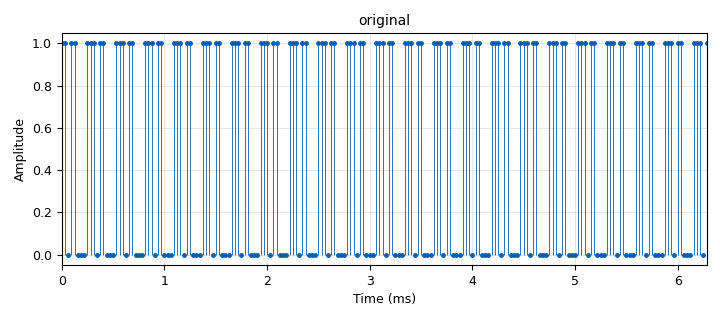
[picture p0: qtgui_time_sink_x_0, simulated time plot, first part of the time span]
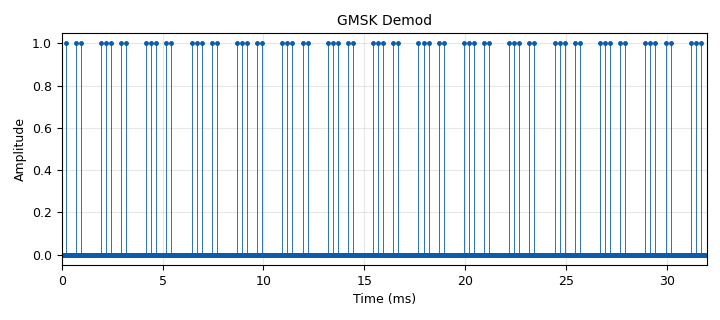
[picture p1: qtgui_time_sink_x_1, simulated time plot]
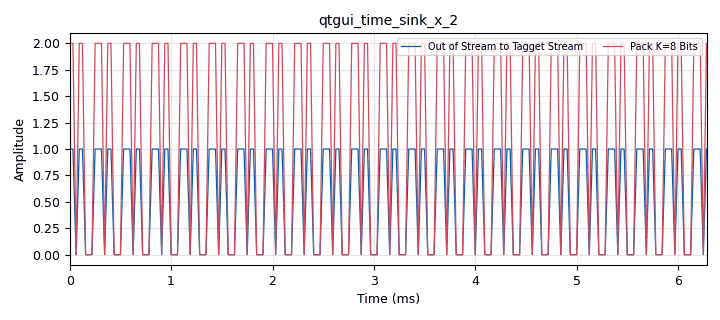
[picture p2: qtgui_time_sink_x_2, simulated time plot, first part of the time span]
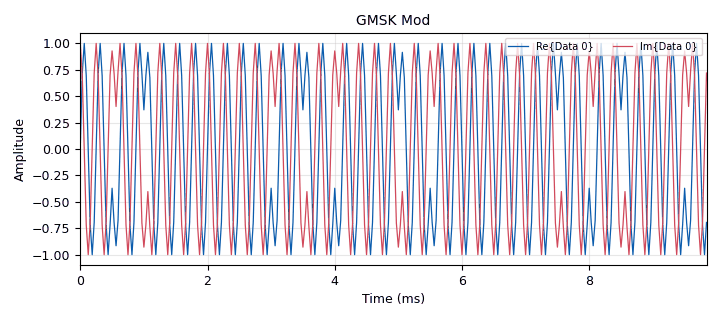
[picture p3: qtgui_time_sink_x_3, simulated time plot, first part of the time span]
<?xml version='1.0' encoding='utf-8'?>
<?grc format='1' created='3.7.13'?>
<flow_graph>
<block>
<key>options</key>
<param><key>id</key><value>top_block</value></param>
<param><key>generate_options</key><value>qt_gui</value></param>
<param><key>run_options</key><value>run</value></param>
<param><key>title</key><value>GMSK Mod Demod</value></param>
</block>
<block>
<key>variable</key>
<param><key>id</key><value>samp_rate</value></param>
<param><key>value</key><value>32000</value></param>
</block>
<block>
<key>blocks_pack_k_bits_bb</key>
<param><key>id</key><value>blocks_pack_k_bits_bb_0</value></param>
<param><key>k</key><value>8</value></param>
</block>
<block>
<key>blocks_stream_to_tagged_stream</key>
<param><key>id</key><value>blocks_stream_to_tagged_stream_0_0</value></param>
<param><key>len_tag_key</key><value>"packet_len"</value></param>
<param><key>packet_len</key><value>9</value></param>
<param><key>type</key><value>byte</value></param>
</block>
<block>
<key>blocks_throttle</key>
<param><key>id</key><value>blocks_throttle_0_0</value></param>
<param><key>samples_per_second</key><value>samp_rate</value></param>
<param><key>type</key><value>byte</value></param>
</block>
<block>
<key>blocks_uchar_to_float</key>
<param><key>id</key><value>blocks_uchar_to_float_0</value></param>
</block>
<block>
<key>blocks_uchar_to_float</key>
<param><key>id</key><value>blocks_uchar_to_float_0_1_1</value></param>
</block>
<block>
<key>blocks_uchar_to_float</key>
<param><key>id</key><value>blocks_uchar_to_float_0_1_1_0</value></param>
</block>
<block>
<key>blocks_uchar_to_float</key>
<param><key>id</key><value>blocks_uchar_to_float_0_1_1_0_1</value></param>
</block>
<block>
<key>blocks_vector_source_x</key>
<param><key>id</key><value>blocks_vector_source_x_0_0</value></param>
<param><key>type</key><value>byte</value></param>
<param><key>repeat</key><value>True</value></param>
<param><key>vector</key><value>(0, 0, 0, 1, 1, 1, 0, 1, 1)</value></param>
</block>
<block>
<key>blocks_vector_to_stream</key>
<param><key>id</key><value>blocks_vector_to_stream_0</value></param>
<param><key>type</key><value>byte</value></param>
<param><key>num_items</key><value>1</value></param>
</block>
<block>
<key>channels_channel_model</key>
<param><key>id</key><value>channels_channel_model_0</value></param>
<param><key>block_tags</key><value>True</value></param>
<param><key>epsilon</key><value>1.0</value></param>
<param><key>freq_offset</key><value>0.0</value></param>
<param><key>noise_voltage</key><value>0.1</value></param>
<param><key>seed</key><value>0</value></param>
<param><key>taps</key><value>1.0 + 1.0j</value></param>
</block>
<block>
<key>digital_gmsk_demod</key>
<param><key>id</key><value>digital_gmsk_demod_0</value></param>
<param><key>freq_error</key><value>0.0</value></param>
<param><key>gain_mu</key><value>0.175</value></param>
<param><key>mu</key><value>0.5</value></param>
<param><key>omega_relative_limit</key><value>0.005</value></param>
<param><key>samples_per_symbol</key><value>2</value></param>
</block>
<block>
<key>digital_gmsk_mod</key>
<param><key>id</key><value>digital_gmsk_mod_0</value></param>
<param><key>bt</key><value>0.35</value></param>
<param><key>samples_per_symbol</key><value>2</value></param>
<param><key>verbose</key><value>True</value></param>
</block>
<block>
<key>qtgui_time_sink_x</key>
<param><key>id</key><value>qtgui_time_sink_x_0</value></param>
<param><key>autoscale</key><value>True</value></param>
<param><key>ctrlpanel</key><value>True</value></param>
<param><key>color1</key><value>"blue"</value></param>
<param><key>label1</key><value></value></param>
<param><key>name</key><value>"original"</value></param>
<param><key>size</key><value>1024</value></param>
<param><key>srate</key><value>samp_rate</value></param>
<param><key>stemplot</key><value>True</value></param>
<param><key>type</key><value>float</value></param>
</block>
<block>
<key>qtgui_time_sink_x</key>
<param><key>id</key><value>qtgui_time_sink_x_1</value></param>
<param><key>autoscale</key><value>True</value></param>
<param><key>color1</key><value>"black"</value></param>
<param><key>label1</key><value></value></param>
<param><key>name</key><value>"GMSK Demod"</value></param>
<param><key>size</key><value>1024</value></param>
<param><key>srate</key><value>samp_rate</value></param>
<param><key>stemplot</key><value>True</value></param>
<param><key>type</key><value>float</value></param>
</block>
<block>
<key>qtgui_time_sink_x</key>
<param><key>id</key><value>qtgui_time_sink_x_2</value></param>
<param><key>autoscale</key><value>True</value></param>
<param><key>ctrlpanel</key><value>True</value></param>
<param><key>color1</key><value>"blue"</value></param>
<param><key>label1</key><value>Out of Stream to Tagget Stream</value></param>
<param><key>color2</key><value>"red"</value></param>
<param><key>label2</key><value>Pack K=8 Bits</value></param>
<param><key>nconnections</key><value>2</value></param>
<param><key>size</key><value>1024</value></param>
<param><key>srate</key><value>samp_rate</value></param>
<param><key>type</key><value>float</value></param>
</block>
<block>
<key>qtgui_time_sink_x</key>
<param><key>id</key><value>qtgui_time_sink_x_3</value></param>
<param><key>autoscale</key><value>True</value></param>
<param><key>ctrlpanel</key><value>True</value></param>
<param><key>color1</key><value>"blue"</value></param>
<param><key>label1</key><value></value></param>
<param><key>color2</key><value>"red"</value></param>
<param><key>label2</key><value></value></param>
<param><key>name</key><value>"GMSK Mod"</value></param>
<param><key>size</key><value>1024</value></param>
<param><key>srate</key><value>samp_rate</value></param>
<param><key>type</key><value>complex</value></param>
</block>
<connection><source_block_id>blocks_pack_k_bits_bb_0</source_block_id><sink_block_id>blocks_uchar_to_float_0_1_1_0</sink_block_id><source_key>0</source_key><sink_key>0</sink_key></connection>
<connection><source_block_id>blocks_stream_to_tagged_stream_0_0</source_block_id><sink_block_id>blocks_throttle_0_0</sink_block_id><source_key>0</source_key><sink_key>0</sink_key></connection>
<connection><source_block_id>blocks_stream_to_tagged_stream_0_0</source_block_id><sink_block_id>blocks_uchar_to_float_0_1_1_0_1</sink_block_id><source_key>0</source_key><sink_key>0</sink_key></connection>
<connection><source_block_id>blocks_throttle_0_0</source_block_id><sink_block_id>digital_gmsk_mod_0</sink_block_id><source_key>0</source_key><sink_key>0</sink_key></connection>
<connection><source_block_id>blocks_uchar_to_float_0</source_block_id><sink_block_id>qtgui_time_sink_x_0</sink_block_id><source_key>0</source_key><sink_key>0</sink_key></connection>
<connection><source_block_id>blocks_uchar_to_float_0_1_1</source_block_id><sink_block_id>qtgui_time_sink_x_1</sink_block_id><source_key>0</source_key><sink_key>0</sink_key></connection>
<connection><source_block_id>blocks_uchar_to_float_0_1_1_0</source_block_id><sink_block_id>qtgui_time_sink_x_2</sink_block_id><source_key>0</source_key><sink_key>1</sink_key></connection>
<connection><source_block_id>blocks_uchar_to_float_0_1_1_0_1</source_block_id><sink_block_id>qtgui_time_sink_x_2</sink_block_id><source_key>0</source_key><sink_key>0</sink_key></connection>
<connection><source_block_id>blocks_vector_source_x_0_0</source_block_id><sink_block_id>blocks_uchar_to_float_0</sink_block_id><source_key>0</source_key><sink_key>0</sink_key></connection>
<connection><source_block_id>blocks_vector_source_x_0_0</source_block_id><sink_block_id>blocks_vector_to_stream_0</sink_block_id><source_key>0</source_key><sink_key>0</sink_key></connection>
<connection><source_block_id>blocks_vector_to_stream_0</source_block_id><sink_block_id>blocks_stream_to_tagged_stream_0_0</sink_block_id><source_key>0</source_key><sink_key>0</sink_key></connection>
<connection><source_block_id>channels_channel_model_0</source_block_id><sink_block_id>digital_gmsk_demod_0</sink_block_id><source_key>0</source_key><sink_key>0</sink_key></connection>
<connection><source_block_id>digital_gmsk_demod_0</source_block_id><sink_block_id>blocks_pack_k_bits_bb_0</sink_block_id><source_key>0</source_key><sink_key>0</sink_key></connection>
<connection><source_block_id>digital_gmsk_demod_0</source_block_id><sink_block_id>blocks_uchar_to_float_0_1_1</sink_block_id><source_key>0</source_key><sink_key>0</sink_key></connection>
<connection><source_block_id>digital_gmsk_mod_0</source_block_id><sink_block_id>channels_channel_model_0</sink_block_id><source_key>0</source_key><sink_key>0</sink_key></connection>
<connection><source_block_id>digital_gmsk_mod_0</source_block_id><sink_block_id>qtgui_time_sink_x_3</sink_block_id><source_key>0</source_key><sink_key>0</sink_key></connection>
</flow_graph>
